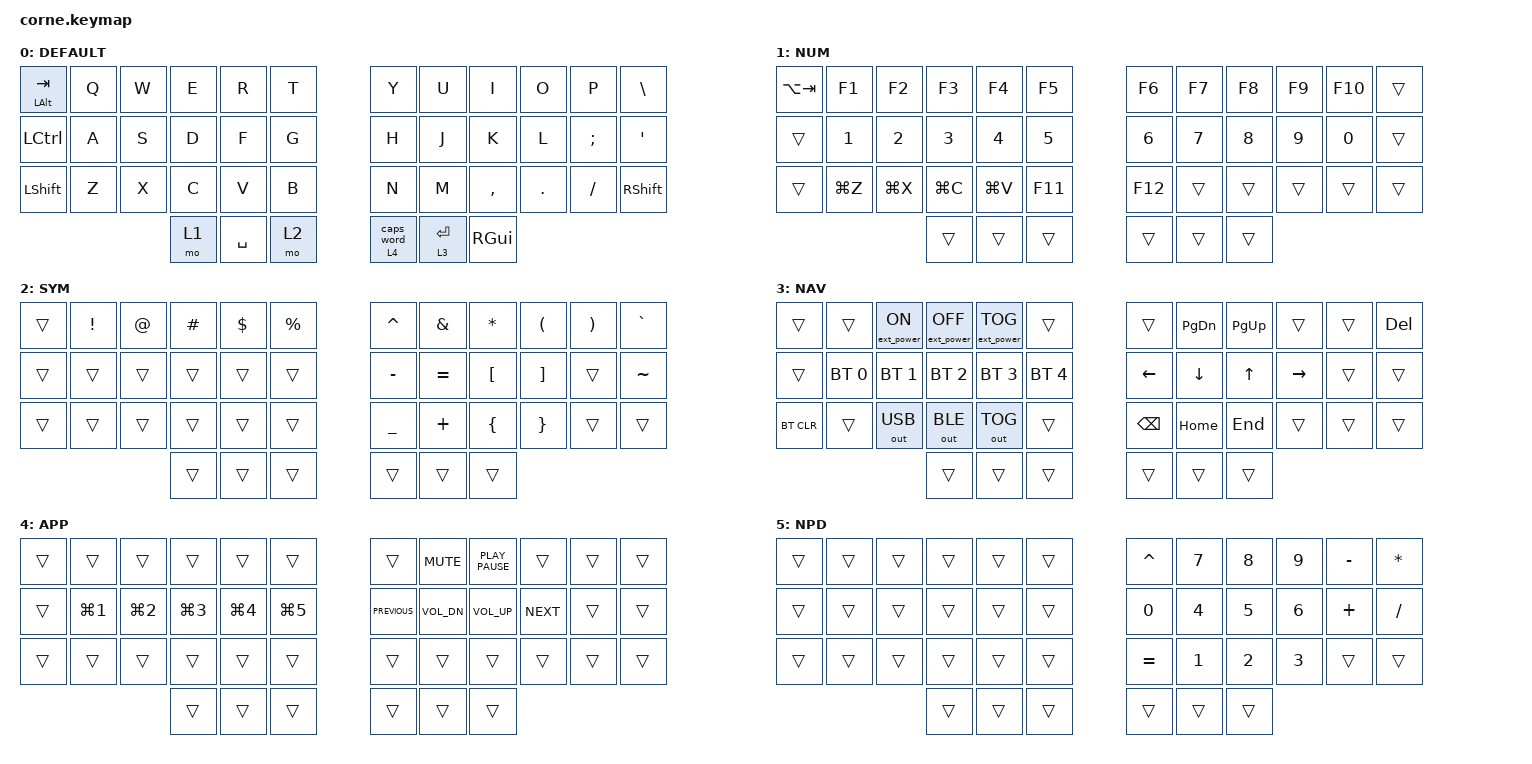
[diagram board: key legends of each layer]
// vim: set ft=devicetree: commentstring=//%s:
/*
 * Copyright (c) 2020 The ZMK Contributors
 *
 * SPDX-License-Identifier: MIT
 */

#include <behaviors.dtsi>
#include <dt-bindings/zmk/bt.h>
#include <dt-bindings/zmk/ext_power.h>
#include <dt-bindings/zmk/keys.h>
#include <dt-bindings/zmk/outputs.h>

#define DEFAULT 0
#define NUM     1
#define SYM     2
#define NAV     3
#define NPD     4

/ {
    behaviors {
        hml: hml {
            compatible = "zmk,behavior-hold-tap";
            label = "HOME_ROW_LEFT";
            bindings = <&kp>, <&kp>;

            #binding-cells = <2>;
            tapping-term-ms = <280>;
            quick-tap-ms = <175>;
            require-prior-idle-ms = <150>;
            flavor = "balanced";
            hold-trigger-key-positions = <6 7 8 9 10 11 18 19 20 21 22 23 30 31 32 33 34 35 39 40 41>;
            hold-trigger-on-release;
        };

        hmr: hmr {
            compatible = "zmk,behavior-hold-tap";
            label = "HOME_ROW_RIGHT";
            bindings = <&kp>, <&kp>;

            #binding-cells = <2>;
            tapping-term-ms = <280>;
            quick-tap-ms = <175>;
            require-prior-idle-ms = <150>;
            flavor = "balanced";
            hold-trigger-key-positions = <0 1 2 3 4 5 12 13 14 15 16 17 24 25 26 27 28 29 36 37 38>;
            hold-trigger-on-release;
        };

        thumb_lt: thumb_lt {
            compatible = "zmk,behavior-hold-tap";
            label = "THUMB_LAYER_TAP";
            bindings = <&mo>, <&kp>;

            #binding-cells = <2>;
            tapping-term-ms = <200>;
            quick-tap-ms = <175>;
            flavor = "balanced";
        };

        hsk: hold_or_sticky_key {
            compatible = "zmk,behavior-hold-tap";
            label = "HOLD_OR_STICKY_KEY";
            bindings = <&kp>, <&skq>;

            #binding-cells = <2>;
            tapping-term-ms = <275>;
            quick-tap-ms = <250>;
            require-prior-idle-ms = <50>;
            flavor = "tap-preferred";
        };

        awm_super: awm_super {
            compatible = "zmk,behavior-tap-dance";
            label = "AWM_SUPER";
            #binding-cells = <0>;
            bindings = <&lmt LEFT_GUI ESCAPE>, <&lmt LS(LGUI) ESCAPE>;
        };

        skq: skq {
            compatible = "zmk,behavior-sticky-key";
            label = "STICKY_QUICK_RELEASE";
            bindings = <&kp>;
            #binding-cells = <1>;
            release-after-ms = <1500>;
            quick-release;
            ignore-modifiers;
        };

        lmt: lmt {
            compatible = "zmk,behavior-hold-tap";
            label = "LMT";
            bindings = <&lm1>, <&kp>;

            #binding-cells = <2>;
            tapping-term-ms = <150>;
        };

        hml_hold: hml_hold {
            compatible = "zmk,behavior-hold-tap";
            label = "HML_HOLD";
            bindings = <&kp>, <&kp>;

            #binding-cells = <2>;
            tapping-term-ms = <190>;
            flavor = "hold-preferred";
            hold-trigger-key-positions = <6 7 8 9 10 11 18 19 20 21 22 23 30 31 32 33 34 35 39 40 41>;
            hold-trigger-on-release;
        };

        hmr_hold: hmr_hold {
            compatible = "zmk,behavior-hold-tap";
            label = "HMR_HOLD";
            bindings = <&kp>, <&kp>;

            #binding-cells = <2>;
            tapping-term-ms = <190>;
            flavor = "hold-preferred";
            hold-trigger-on-release;
            hold-trigger-key-positions = <0 1 2 3 4 5 12 13 14 15 16 17 24 25 26 27 28 29 36 37 38>;
        };

        with_caps: with_caps {
            compatible = "zmk,behavior-hold-tap";
            label = "WITH_CAPS";
            bindings = <&mo>, <&caps_word>;

            #binding-cells = <2>;
            tapping-term-ms = <280>;
            quick-tap-ms = <250>;
            require-prior-idle-ms = <150>;
            flavor = "tap-preferred";
        };

        prefer_hold: prefer_hold {
            compatible = "zmk,behavior-hold-tap";
            label = "PREFER_HOLD";
            bindings = <&kp>, <&kp>;

            #binding-cells = <2>;
            tapping-term-ms = <190>;
            flavor = "hold-preferred";
        };
    };

    macros {
        lm: lm {
            label = "LAYER_MOD";
            compatible = "zmk,behavior-macro-two-param";
            wait-ms = <0>;
            tap-ms = <0>;
            #binding-cells = <2>;
            bindings =
                <&macro_param_1to1>,
                <&macro_press>,
                <&mo MACRO_PLACEHOLDER &macro_param_2to1>,
                <&macro_press>,
                <&kp MACRO_PLACEHOLDER>,
                <&macro_pause_for_release>,
                <&macro_param_2to1>,
                <&macro_release>,
                <&kp MACRO_PLACEHOLDER &macro_param_1to1>,
                <&macro_release>,
                <&mo MACRO_PLACEHOLDER>;
        };

        lm1: lm1 {
            compatible = "zmk,behavior-macro-one-param";
            label = "LM1";
            wait-ms = <0>;
            tap-ms = <0>;
            #binding-cells = <1>;
            bindings =
                <&macro_press>,
                <&mo 1 &macro_param_1to1>,
                <&macro_press>,
                <&kp MACRO_PLACEHOLDER>,
                <&macro_pause_for_release>,
                <&macro_param_1to1>,
                <&macro_release>,
                <&kp MACRO_PLACEHOLDER>,
                <&macro_release>,
                <&mo 1>;
        };
    };

    combos {
        compatible = "zmk,combos";

        esc {
            bindings = <&kp ESC>;
            key-positions = <15 16>;
        };

        backspace {
            bindings = <&kp BACKSPACE>;
            key-positions = <31 32>;
        };

        tab {
            bindings = <&kp TAB>;
            key-positions = <2 3>;
        };
    };

    keymap {
        compatible = "zmk,keymap";

        default_layer {
            bindings = <
&prefer_hold LALT TAB  &kp Q  &kp W  &kp E  &kp R      &kp T    &kp Y           &kp U              &kp I      &kp O       &kp P      &kp BSLH
&kp LCTRL              &kp A  &kp S  &kp D  &kp F      &kp G    &kp H           &kp J              &kp K      &kp L       &kp SEMI   &kp SQT
&kp LSHIFT             &kp Z  &kp X  &kp C  &kp V      &kp B    &kp N           &kp M              &kp COMMA  &kp PERIOD  &kp SLASH  &kp RSHIFT
                                     &mo 1  &kp SPACE  &mo 2    &with_caps 4 0  &thumb_lt 3 ENTER  &kp RGUI
            >;

            label = "DEFAULT";
        };

        num_layer {
            bindings = <
&kp LA(TAB)  &kp F1     &kp F2     &kp F3     &kp F4     &kp F5     &kp F6   &kp F7  &kp F8  &kp F9  &kp F10  &trans
&trans       &kp N1     &kp N2     &kp N3     &kp N4     &kp N5     &kp N6   &kp N7  &kp N8  &kp N9  &kp N0   &trans
&trans       &kp LG(Z)  &kp LG(X)  &kp LG(C)  &kp LG(V)  &kp F11    &kp F12  &trans  &trans  &trans  &trans   &trans
                                   &trans     &trans     &trans     &trans   &trans  &trans
            >;

            label = "NUM";
        };

        sym_layer {
            bindings = <
&trans  &kp EXCL  &kp AT  &kp HASH  &kp DLLR  &kp PRCNT    &kp CARET       &kp AMPS   &kp ASTRK  &kp LEFT_PARENTHESIS  &kp RIGHT_PARENTHESIS  &kp GRAVE
&trans  &trans    &trans  &trans    &trans    &trans       &kp MINUS       &kp EQUAL  &kp LBKT   &kp RBKT              &trans                 &kp TILDE
&trans  &trans    &trans  &trans    &trans    &trans       &kp UNDERSCORE  &kp PLUS   &kp LBRC   &kp RBRC              &trans                 &trans
                          &trans    &trans    &trans       &trans          &trans     &trans
            >;

            label = "SYM";
        };

        nav_layer {
            bindings = <
&trans      &trans        &ext_power EP_ON  &ext_power EP_OFF  &ext_power EP_TOG  &trans          &trans          &kp PAGE_DOWN   &kp PAGE_UP   &trans           &trans  &kp DELETE
&trans      &bt BT_SEL 0  &bt BT_SEL 1      &bt BT_SEL 2       &bt BT_SEL 3       &bt BT_SEL 4    &kp LEFT_ARROW  &kp DOWN_ARROW  &kp UP_ARROW  &kp RIGHT_ARROW  &trans  &trans
&bt BT_CLR  &trans        &out OUT_USB      &out OUT_BLE       &out OUT_TOG       &trans          &kp BACKSPACE   &kp HOME        &kp END       &trans           &trans  &trans
                                            &trans             &trans             &trans          &trans          &trans          &trans
            >;

            label = "NAV";
        };

        app_layer {
            bindings = <
&trans  &trans      &trans      &trans      &trans      &trans        &trans          &kp K_MUTE    &kp K_PLAY_PAUSE  &trans      &trans  &trans
&trans  &kp LG(N1)  &kp LG(N2)  &kp LG(N3)  &kp LG(N4)  &kp LG(N5)    &kp C_PREVIOUS  &kp C_VOL_DN  &kp C_VOL_UP      &kp C_NEXT  &trans  &trans
&trans  &trans      &trans      &trans      &trans      &trans        &trans          &trans        &trans            &trans      &trans  &trans
                                &trans      &trans      &trans        &trans          &trans        &trans
            >;

            label = "APP";
        };

        npd_layer {
            bindings = <
&trans  &trans  &trans  &trans  &trans  &trans    &kp CARET  &kp N7  &kp N8  &kp N9  &kp MINUS  &kp STAR
&trans  &trans  &trans  &trans  &trans  &trans    &kp N0     &kp N4  &kp N5  &kp N6  &kp PLUS   &kp SLASH
&trans  &trans  &trans  &trans  &trans  &trans    &kp EQUAL  &kp N1  &kp N2  &kp N3  &trans     &trans
                        &trans  &trans  &trans    &trans     &trans  &trans
            >;

            label = "NPD";
        };
    };
};
